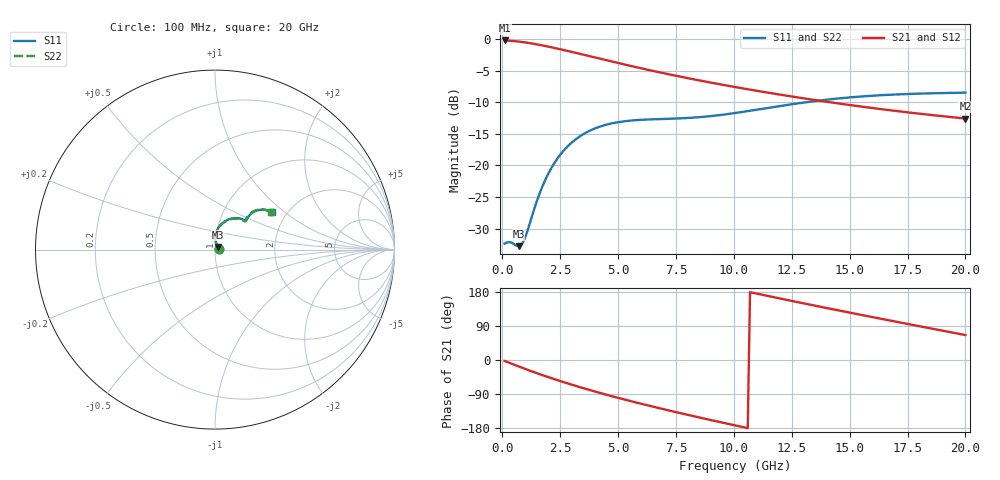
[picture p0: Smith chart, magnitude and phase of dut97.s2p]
! Touchstone file exported from HFSS 2024.1.0
!  File:  C:/UserFiles/LocalFiles/RDL_TSV_Batchsim/temp_RDL_TSV_97_1779418886.aedt
!  Generated:  11:16:53 AM May 22, 2026
!  Design:  RDL_TSV
!  Project:  temp_RDL_TSV_97_1779418886
!  Setup:  Setup1
!  Solution:  Sweep
! Variables:
!  dtsv = 13.11um
!  hbump = 3um
!  htsv = 81.45um
!  ldown = 523.4um
!  lrdl = 663.14um
!  p = 40
!  p1 = 42.1um
!  rhole = 10um
!  subl = 4222.76um
!  t = 450um
!  tdown = 4.05um
!  trdl = 3.83um
!  viad = 10um
!  wdown = 20.91um
!  wrdl = 13.99um
!  xbump = 18um
# GHz S MA R 50.000000
! Terminal data exported
! Port[1] = TM1_1_T1
! Port[2] = TM1_4_T1
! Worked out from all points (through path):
!   200 points, 100 MHz to 20 GHz, reference 50 ohm
!   highest |S21| = -0.22 dB at 100 MHz (marker M1); lowest = -12.6 dB at 20 GHz (marker M2)
!   group delay of S21, straight-line fit = 38.9 ps
!   lowest |S11| = -32.8 dB at 700 MHz (marker M3), VSWR 1.05, Z = 51.8 + j1.47 ohm
!   |S11| at or under -10 dB: start of sweep to 13.1 GHz
!   |S22| runs from -32.7 to -8.5 dB; largest |S21 - S12| = 1.2e-14
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0.1  0.02408 5.8  0.9755 -2.5  0.9755 -2.5  0.02409 5.8
! Gamma 0 0 0 0
! Port Impedance 50 0 50 0
0.3  0.02478 14.5  0.971 -7.4  0.971 -7.4  0.0248 14.4
0.7  0.023 38.1  0.9561 -16.9  0.9561 -16.9  0.02306 37.8
0.8  0.02338 47.5  0.9513 -19.2  0.9513 -19.2  0.02344 47.1
1  0.02729 66.2  0.9405 -23.8  0.9405 -23.8  0.02726 65.6
1.6  0.05926 88.3  0.9008 -37.1  0.9008 -37.1  0.05876 87.7
2.1  0.0941 86.3  0.863 -47.5  0.863 -47.5  0.09316 85.8
2.7  0.1342 78.8  0.8157 -59.5  0.8157 -59.5  0.1327 78.4
3.5  0.177 67.9  0.7532 -74.4  0.7532 -74.4  0.1747 67.6
4.2  0.2026 59.7  0.7015 -86.6  0.7015 -86.6  0.1996 59.4
5.1  0.2215 51.6  0.6408 -101.5  0.6408 -101.5  0.2178 51.4
5.9  0.2292 46.7  0.5928 -114.0  0.5928 -114.0  0.225 46.6
6.8  0.2329 43.7  0.5453 -127.5  0.5453 -127.5  0.2284 43.8
7.6  0.2356 42.9  0.5082 -139.0  0.5082 -139.0  0.2309 43.1
8.4  0.2402 43.1  0.4752 -150.2  0.4752 -150.2  0.2357 43.5
10.1  0.2608 44.6  0.4161 -173.2  0.4161 -173.2  0.2572 45.3
11.8  0.2918 44.7  0.3684 164.7  0.3684 164.7  0.2893 45.4
13.4  0.3215 42.8  0.3315 144.6  0.3315 144.6  0.32 43.5
15  0.3455 40.0  0.3009 125.0  0.3009 125.0  0.3447 40.6
16.7  0.3625 37.0  0.2742 104.7  0.2742 104.7  0.3621 37.4
18.3  0.3716 34.8  0.2535 85.8  0.2535 85.8  0.3715 35.1
20  0.3771 33.3  0.2352 65.9  0.2352 65.9  0.377 33.5
